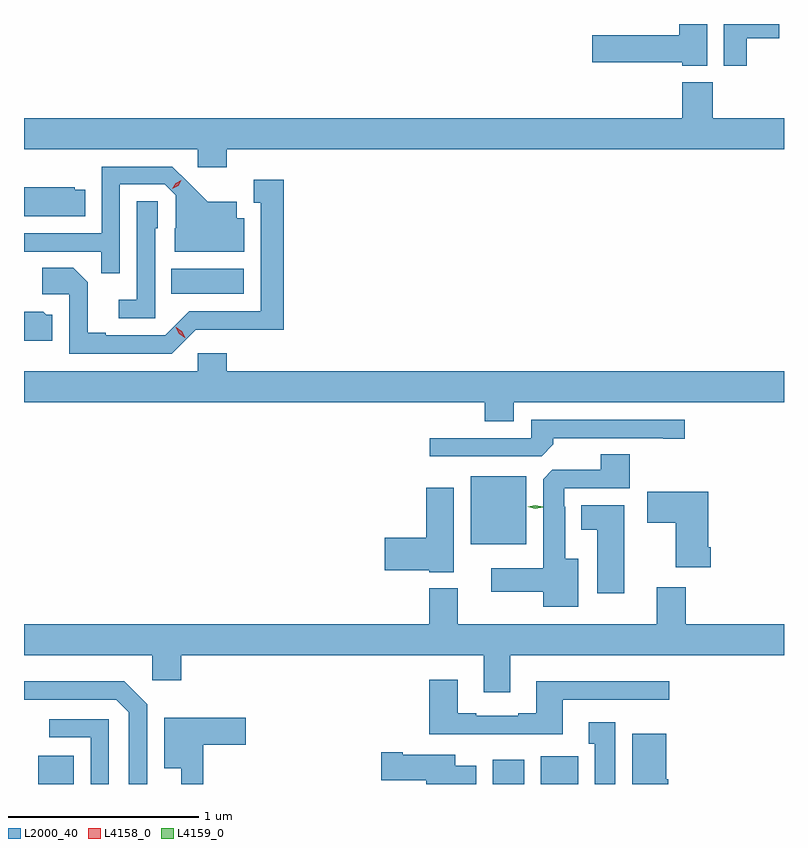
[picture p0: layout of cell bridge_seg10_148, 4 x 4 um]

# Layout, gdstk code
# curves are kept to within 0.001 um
import gdstk
lib = gdstk.Library(unit=1e-6, precision=1e-09)
def R(c, l, rs):  # rectangles x0, y0, x1, y1
    for r in rs: c.add(gdstk.rectangle(r[:2], r[2:], *l))
def P(c, l, *ps):  # polygons
    for p in ps: c.add(gdstk.Polygon(p, *l))
L2000_40 = (2000, 40)
L4158_0 = (4158, 0)
L4159_0 = (4159, 0)

bridge_seg10_148 = lib.new_cell('bridge_seg10_148')
R(bridge_seg10_148, L2000_40, [(313.823,1304.967,314.011,1305.115), (316.217,1304.967,316.381,1305.094), (316.469,1304.967,316.666,1305.112), (316.1,1306.229,316.393,1306.588), (314.524,1307.546,314.905,1307.68)])
P(bridge_seg10_148, L2000_40, [(317.554,1308.893),(317.725,1308.893),(317.725,1308.967),(317.432,1308.967),(317.432,1308.747),(317.554,1308.747)],
  [(317.344,1308.967),(317.198,1308.967),(317.198,1308.908),(316.74,1308.908),(316.74,1308.766),(317.214,1308.766),(317.214,1308.746),(317.344,1308.746)],
  [(314.816,1308.308),(317.749,1308.308),(317.749,1308.472),(317.373,1308.472),(317.373,1308.661),(317.213,1308.661),(317.213,1308.472),(313.749,1308.472),(313.749,1308.308),(314.664,1308.308),(314.664,1308.213),(314.816,1308.213)],
  [(314.253,1308.123),(314.49,1308.123),(314.547,1308.066),(314.547,1307.892),(314.543,1307.892),(314.543,1307.768),(314.908,1307.768),(314.908,1307.944),(314.869,1307.944),(314.869,1308.031),(314.717,1308.031),(314.53,1308.216),(314.157,1308.216),(314.157,1307.865),(313.749,1307.865),(313.749,1307.769),(314.155,1307.769),(314.155,1307.656),(314.253,1307.656)],
  [(314.652,1307.358),(315.115,1307.357),(315.115,1308.148),(314.957,1308.148),(314.957,1308.027),(314.996,1308.027),(314.996,1307.454),(314.619,1307.454),(314.493,1307.328),(314.179,1307.328),(314.179,1307.341),(314.085,1307.341),(314.085,1307.608),(314.009,1307.684),(313.845,1307.684),(313.845,1307.544),(313.986,1307.544),(313.986,1307.232),(314.526,1307.232)],
  [(314.072,1308.094),(314.016,1308.094),(314.016,1308.109),(313.749,1308.109),(313.749,1307.954),(314.072,1307.954)],
  [(314.439,1307.892),(314.454,1307.892),(314.454,1308.035),(314.343,1308.035),(314.343,1307.515),(314.247,1307.515),(314.247,1307.418),(314.439,1307.418)],
  [(313.897,1307.436),(313.866,1307.436),(313.85,1307.452),(313.749,1307.452),(313.749,1307.3),(313.897,1307.3)],
  [(316.327,1306.976),(317.749,1306.976),(317.749,1307.14),(314.816,1307.14),(314.816,1307.233),(314.664,1307.233),(314.664,1307.14),(313.749,1307.14),(313.749,1306.976),(316.175,1306.976),(316.175,1306.877),(316.327,1306.877)],
  [(316.535,1306.754),(316.535,1306.788),(317.114,1306.788),(317.114,1306.783),(317.227,1306.783),(317.227,1306.884),(316.419,1306.884),(316.419,1306.788),(315.885,1306.788),(315.885,1306.692),(316.473,1306.692)],
  [(316.666,1306.153),(316.597,1306.153),(316.597,1306.427),(316.593,1306.427),(316.593,1306.524),(316.937,1306.524),(316.937,1306.703),(316.784,1306.703),(316.784,1306.62),(316.53,1306.62),(316.481,1306.571),(316.481,1306.102),(316.209,1306.102),(316.209,1305.98),(316.481,1305.98),(316.481,1305.899),(316.666,1305.899)],
  [(316.012,1306.525),(315.866,1306.525),(315.866,1306.262),(315.648,1306.262),(315.648,1306.091),(315.882,1306.091),(315.882,1306.082),(316.012,1306.082)],
  [(317.363,1306.213),(317.35,1306.213),(317.35,1306.504),(317.028,1306.504),(317.028,1306.342),(317.18,1306.342),(317.18,1306.109),(317.363,1306.109)],
  [(316.909,1306.435),(316.682,1306.435),(316.682,1306.304),(316.766,1306.304),(316.766,1305.972),(316.909,1305.972)],
  [(315.881,1305.997),(315.881,1305.808),(313.749,1305.808),(313.749,1305.644),(314.424,1305.644),(314.424,1305.513),(314.576,1305.513),(314.576,1305.644),(316.169,1305.644),(316.169,1305.45),(316.309,1305.45),(316.309,1305.644),(317.749,1305.644),(317.749,1305.808),(317.231,1305.808),(317.231,1306.003),(317.078,1306.003),(317.078,1305.808),(316.033,1305.808),(316.033,1305.997)],
  [(316.585,1305.411),(317.146,1305.411),(317.146,1305.508),(316.445,1305.508),(316.445,1305.34),(316.349,1305.34),(316.349,1305.327),(316.129,1305.327),(316.129,1305.34),(316.033,1305.34),(316.033,1305.517),(315.881,1305.517),(315.881,1305.23),(316.585,1305.23)],
  [(314.397,1305.387),(314.276,1305.508),(313.749,1305.508),(313.749,1305.411),(314.235,1305.411),(314.301,1305.345),(314.301,1304.967),(314.397,1304.967)],
  [(314.693,1305.173),(314.917,1305.173),(314.917,1305.315),(314.486,1305.315),(314.486,1305.05),(314.576,1305.05),(314.576,1304.967),(314.693,1304.967)],
  [(314.196,1305.309),(313.881,1305.309),(313.881,1305.213),(314.1,1305.213),(314.1,1304.967),(314.196,1304.967)],
  [(316.861,1305.292),(316.721,1305.292),(316.721,1305.179),(316.754,1305.179),(316.754,1304.967),(316.861,1304.967)],
  [(317.141,1304.992),(317.128,1304.992),(317.128,1305.232),(316.949,1305.232),(316.949,1304.967),(317.141,1304.967)],
  [(316.129,1305.064),(316.018,1305.064),(316.018,1305.121),(315.742,1305.121),(315.742,1305.134),(315.63,1305.134),(315.63,1304.987),(315.866,1304.987),(315.866,1304.967),(316.129,1304.967)])
P(bridge_seg10_148, L4158_0, [(314.596,1307.317),(314.565,1307.337),(314.548,1307.37),(314.548,1307.37),(314.549,1307.37),(314.58,1307.35),(314.597,1307.317),(314.597,1307.317)],
  [(314.53,1308.1),(314.53,1308.1),(314.547,1308.13),(314.577,1308.145),(314.577,1308.145),(314.577,1308.145),(314.56,1308.115),(314.53,1308.1)])
P(bridge_seg10_148, L4159_0, [(316.44,1306.415),(316.4,1306.425),(316.399,1306.425),(316.4,1306.426),(316.441,1306.435),(316.482,1306.425),(316.482,1306.424),(316.482,1306.424)])

lib.write_gds('bridge_seg10_148.gds')
